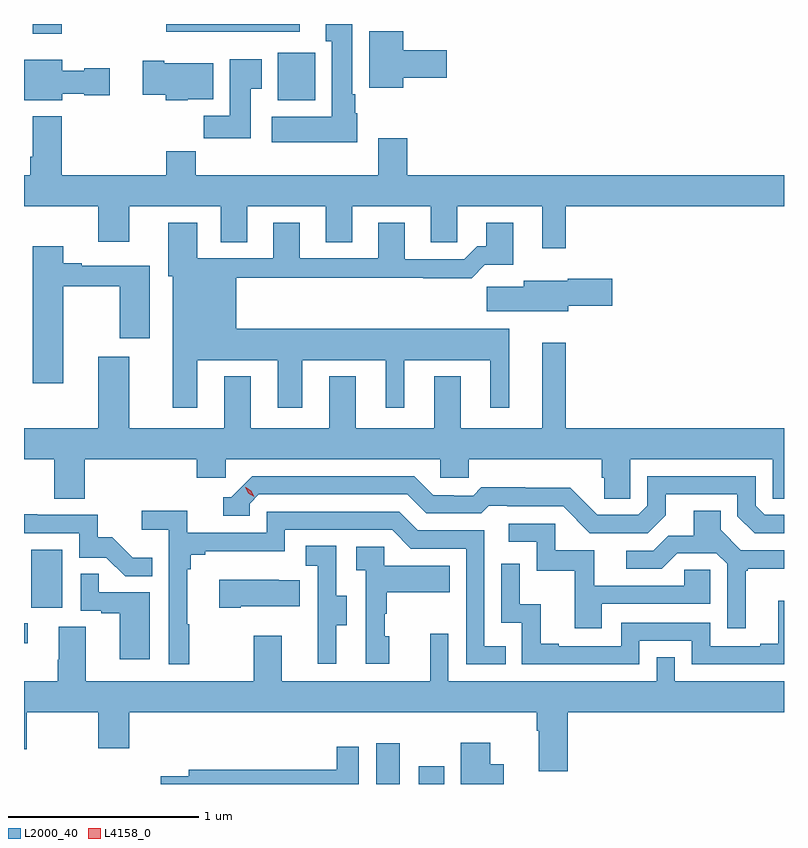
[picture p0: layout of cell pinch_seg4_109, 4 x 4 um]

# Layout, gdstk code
import gdstk
lib = gdstk.Library(unit=1e-6, precision=1e-09)
def R(c, l, rs):  # rectangles x0, y0, x1, y1
    for r in rs: c.add(gdstk.rectangle(r[:2], r[2:], *l))
def P(c, l, *ps):  # polygons
    for p in ps: c.add(gdstk.Polygon(p, *l))
L2000_40 = (2000, 40)
L4158_0 = (4158, 0)

pinch_seg4_109 = lib.new_cell('pinch_seg4_109')
R(pinch_seg4_109, L2000_40, [(1077.56,797.775,1077.682,797.989), (1077.782,797.775,1077.916,797.869), (1075.705,798.516,1075.726,798.621), (1075.742,798.702,1075.906,799.009), (1077.041,801.374,1077.237,801.625), (1075.751,801.723,1075.904,801.775), (1076.453,801.734,1077.157,801.775)])
P(pinch_seg4_109, L2000_40, [(1077.46,801.306),(1077.448,801.306),(1077.448,801.406),(1077.433,801.406),(1077.433,801.775),(1077.293,801.775),(1077.293,801.683),(1077.326,801.683),(1077.326,801.286),(1077.009,801.286),(1077.009,801.152),(1077.46,801.152)],
  [(1077.7,801.491),(1077.931,801.491),(1077.931,801.638),(1077.7,801.638),(1077.7,801.736),(1077.521,801.736),(1077.521,801.44),(1077.7,801.44)],
  [(1076.899,801.433),(1076.956,801.433),(1076.956,801.589),(1076.789,801.589),(1076.789,801.292),(1076.65,801.292),(1076.65,801.174),(1076.899,801.174)],
  [(1075.906,801.407),(1076.022,801.407),(1076.022,801.4),(1076.155,801.4),(1076.155,801.542),(1076.022,801.542),(1076.022,801.529),(1075.906,801.529),(1075.906,801.586),(1075.705,801.586),(1075.705,801.374),(1075.906,801.374)],
  [(1076.568,801.38),(1076.701,801.38),(1076.701,801.568),(1076.443,801.568),(1076.443,801.581),(1076.331,801.581),(1076.331,801.403),(1076.45,801.403),(1076.45,801.374),(1076.568,801.374)],
  [(1078.555,800.816),(1079.705,800.816),(1079.705,800.98),(1077.722,800.98),(1077.722,801.175),(1077.569,801.175),(1077.569,800.98),(1076.609,800.98),(1076.609,801.104),(1076.453,801.104),(1076.453,800.98),(1075.904,800.98),(1075.904,801.289),(1075.751,801.289),(1075.751,801.076),(1075.739,801.076),(1075.739,800.98),(1075.705,800.98),(1075.705,800.816),(1076.096,800.816),(1076.096,800.628),(1076.26,800.628),(1076.26,800.816),(1076.741,800.816),(1076.741,800.626),(1076.881,800.626),(1076.881,800.816),(1077.293,800.816),(1077.293,800.626),(1077.433,800.626),(1077.433,800.816),(1077.845,800.816),(1077.845,800.626),(1077.984,800.626),(1077.984,800.816),(1078.433,800.816),(1078.433,800.595),(1078.555,800.595)],
  [(1076.617,800.006),(1077.041,800.006),(1077.041,799.755),(1077.169,799.755),(1077.169,800.006),(1077.608,800.006),(1077.608,799.755),(1077.706,799.755),(1077.706,800.006),(1078.16,800.006),(1078.16,799.755),(1078.258,799.755),(1078.258,800.17),(1076.821,800.17),(1076.821,800.44),(1077.805,800.44),(1077.805,800.438),(1078.061,800.438),(1078.13,800.507),(1078.279,800.507),(1078.279,800.728),(1078.139,800.728),(1078.139,800.605),(1078.09,800.605),(1078.023,800.538),(1077.709,800.538),(1077.709,800.728),(1077.569,800.728),(1077.569,800.541),(1077.157,800.541),(1077.157,800.728),(1077.017,800.728),(1077.017,800.541),(1076.617,800.541),(1076.617,800.728),(1076.465,800.728),(1076.465,800.448),(1076.489,800.448),(1076.489,799.755),(1076.617,799.755)],
  [(1075.912,800.394),(1076.21,800.394),(1076.21,800.121),(1076.368,800.121),(1076.368,800.502),(1076.008,800.502),(1076.008,800.515),(1075.912,800.515),(1075.912,800.605),(1075.751,800.605),(1075.751,799.884),(1075.912,799.884)],
  [(1078.57,800.291),(1078.801,800.291),(1078.801,800.433),(1078.566,800.433),(1078.566,800.425),(1078.334,800.425),(1078.334,800.393),(1078.14,800.393),(1078.14,800.264),(1078.57,800.264)],
  [(1076.024,799.484),(1076.615,799.484),(1076.615,799.386),(1076.766,799.386),(1076.766,799.484),(1077.897,799.484),(1077.897,799.386),(1078.047,799.386),(1078.047,799.484),(1078.745,799.484),(1078.745,799.386),(1078.759,799.386),(1078.759,799.276),(1078.896,799.276),(1078.896,799.484),(1079.646,799.484),(1079.646,799.276),(1079.705,799.276),(1079.705,799.648),(1078.555,799.648),(1078.555,800.098),(1078.433,800.098),(1078.433,799.648),(1078.003,799.648),(1078.003,799.921),(1077.863,799.921),(1077.863,799.648),(1077.451,799.648),(1077.451,799.921),(1077.311,799.921),(1077.311,799.648),(1076.899,799.648),(1076.899,799.921),(1076.759,799.921),(1076.759,799.648),(1076.26,799.648),(1076.26,800.023),(1076.096,800.023),(1076.096,799.648),(1075.705,799.648),(1075.705,799.484),(1075.864,799.484),(1075.864,799.276),(1076.024,799.276)],
  [(1079.083,799.189),(1079.083,799.299),(1079.46,799.299),(1079.46,799.185),(1079.55,799.095),(1079.705,799.095),(1079.705,799.191),(1079.604,799.191),(1079.556,799.239),(1079.556,799.395),(1078.986,799.395),(1078.986,799.239),(1078.938,799.191),(1078.722,799.191),(1078.58,799.333),(1078.344,799.333),(1078.344,799.336),(1078.111,799.336),(1078.069,799.293),(1077.966,799.293),(1077.966,799.296),(1077.859,799.296),(1077.76,799.395),(1076.907,799.395),(1076.796,799.284),(1076.753,799.284),(1076.753,799.188),(1076.892,799.188),(1076.892,799.251),(1076.94,799.299),(1077.723,799.299),(1077.822,799.2),(1078.111,799.2),(1078.15,799.239),(1078.249,799.239),(1078.249,799.236),(1078.542,799.236),(1078.683,799.095),(1078.989,799.095)],
  [(1076.575,798.617),(1076.563,798.617),(1076.563,798.905),(1076.582,798.905),(1076.582,798.982),(1076.659,798.982),(1076.659,799.001),(1077.078,799.001),(1077.078,799.113),(1077.642,799.113),(1077.741,799.014),(1078.032,799.014),(1078.032,798.405),(1078.241,798.405),(1078.241,798.501),(1078.128,798.501),(1078.128,799.11),(1077.778,799.11),(1077.679,799.209),(1076.982,799.209),(1076.982,799.098),(1076.564,799.098),(1076.564,799.214),(1076.325,799.214),(1076.325,799.112),(1076.466,799.112),(1076.466,798.405),(1076.575,798.405)],
  [(1079.503,798.897),(1079.515,798.897),(1079.515,798.908),(1079.705,798.908),(1079.705,799.005),(1079.478,799.005),(1079.371,799.112),(1079.371,799.214),(1079.231,799.214),(1079.231,799.082),(1079.096,799.082),(1079.016,799.002),(1078.875,799.002),(1078.875,798.909),(1079.062,798.909),(1079.143,798.99),(1079.349,798.99),(1079.406,798.933),(1079.406,798.594),(1079.503,798.594)],
  [(1076.381,798.967),(1076.277,798.967),(1076.17,799.074),(1076.094,799.074),(1076.094,799.191),(1075.775,799.191),(1075.775,799.196),(1075.705,799.196),(1075.705,799.095),(1075.995,799.095),(1075.995,798.966),(1076.139,798.966),(1076.237,798.868),(1076.381,798.868)],
  [(1078.747,798.723),(1079.316,798.723),(1079.316,798.903),(1079.179,798.903),(1079.179,798.819),(1078.705,798.819),(1078.705,799.005),(1078.5,799.005),(1078.5,799.146),(1078.257,799.146),(1078.257,799.05),(1078.404,799.05),(1078.404,798.897),(1078.603,798.897),(1078.603,798.594),(1078.747,798.594)],
  [(1077.349,798.61),(1077.403,798.61),(1077.403,798.765),(1077.348,798.765),(1077.348,799.028),(1077.189,799.028),(1077.189,798.925),(1077.252,798.925),(1077.252,798.621),(1077.251,798.621),(1077.251,798.408),(1077.349,798.408)],
  [(1077.628,798.552),(1077.603,798.552),(1077.603,798.671),(1077.613,798.671),(1077.613,798.785),(1077.947,798.785),(1077.947,798.925),(1077.6,798.925),(1077.6,799.023),(1077.453,799.023),(1077.453,798.899),(1077.504,798.899),(1077.504,798.408),(1077.628,798.408)],
  [(1078.944,798.528),(1079.22,798.528),(1079.22,798.405),(1079.705,798.405),(1079.705,798.739),(1079.675,798.739),(1079.675,798.514),(1079.579,798.514),(1079.579,798.501),(1079.316,798.501),(1079.316,798.624),(1078.848,798.624),(1078.848,798.501),(1078.519,798.501),(1078.519,798.514),(1078.424,798.514),(1078.424,798.722),(1078.314,798.722),(1078.314,798.934),(1078.218,798.934),(1078.218,798.624),(1078.326,798.624),(1078.326,798.405),(1078.944,798.405)],
  [(1076.368,798.783),(1076.099,798.783),(1076.099,798.881),(1076.004,798.881),(1076.004,798.687),(1076.111,798.687),(1076.111,798.675),(1076.21,798.675),(1076.21,798.432),(1076.368,798.432)],
  [(1076.845,798.71),(1077.155,798.71),(1077.155,798.847),(1077.047,798.847),(1077.047,798.85),(1076.733,798.85),(1076.733,798.703),(1076.845,798.703)],
  [(1078.568,798.152),(1079.705,798.152),(1079.705,798.316),(1079.13,798.316),(1079.13,798.443),(1079.034,798.443),(1079.034,798.316),(1077.939,798.316),(1077.939,798.565),(1077.842,798.565),(1077.842,798.316),(1077.061,798.316),(1077.061,798.556),(1076.914,798.556),(1076.914,798.316),(1076.029,798.316),(1076.029,798.602),(1075.889,798.602),(1075.889,798.428),(1075.882,798.428),(1075.882,798.316),(1075.705,798.316),(1075.705,797.958),(1075.719,797.958),(1075.719,798.152),(1076.096,798.152),(1076.096,797.964),(1076.26,797.964),(1076.26,798.152),(1078.403,798.152),(1078.403,798.056),(1078.415,798.056),(1078.415,797.843),(1078.568,797.843)],
  [(1078.231,797.878),(1078.159,797.878),(1078.159,797.992),(1078.004,797.992),(1078.004,797.775),(1078.231,797.775)],
  [(1077.468,797.971),(1077.352,797.971),(1077.352,797.851),(1076.573,797.851),(1076.573,797.817),(1076.424,797.817),(1076.424,797.775),(1077.468,797.775)])
P(pinch_seg4_109, L4158_0, [(1076.916,799.286),(1076.886,799.306),(1076.87,799.338),(1076.87,799.338),(1076.871,799.338),(1076.901,799.319),(1076.917,799.286),(1076.917,799.286)])

lib.write_gds('pinch_seg4_109.gds')
